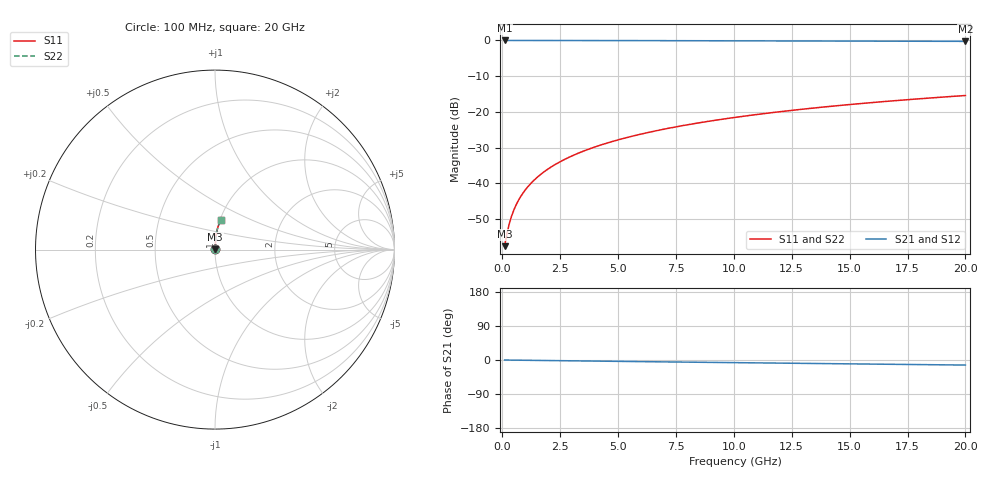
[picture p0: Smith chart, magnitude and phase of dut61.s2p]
! Touchstone file exported from HFSS 2024.1.0
!  File:  C:/UserFiles/LocalFiles/RDL_TSV_Batchsim/temp_RDL_top_61_1778681719.aedt
!  Generated:  10:17:39 PM May 13, 2026
!  Design:  RDL_top
!  Project:  temp_RDL_top_61_1778681719
!  Setup:  Setup1
!  Solution:  Sweep
! Variables:
!  dtsv = 10.80580581um
!  hbump = 3um
!  htsv = 84.22um
!  ldown = 100um
!  lrdl = 135.75um
!  p = 40
!  p1 = 51.73um
!  rhole = 1um
!  t = 450um
!  tdown = 3.915915916um
!  trdl = 3.39um
!  wdown = 15.38538539um
!  wrdl = 17.52um
# GHz S MA R 50.000000
! Terminal data exported
! Port[1] = Box2_T1
! Port[2] = Box2_T2
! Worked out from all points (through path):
!   200 points, 100 MHz to 20 GHz, reference 50 ohm
!   highest |S21| = -0.01 dB at 100 MHz (marker M1); lowest = -0.3 dB at 20 GHz (marker M2)
!   group delay of S21, straight-line fit = 1.84 ps
!   lowest |S11| = -57.6 dB at 100 MHz (marker M3), VSWR 1.00, Z = 50.1 + j0.0843 ohm
!   |S11| at or under -10 dB: start of sweep to end of sweep
!   |S22| runs from -57.6 to -15.4 dB; largest |S21 - S12| = 3e-15
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0.1  0.001321 39.6  0.999 -0.1  0.999 -0.1  0.001321 39.6
! Gamma 0 0 0 0
! Port Impedance 50 0 50 0
0.2  0.001971 58.0  0.9989 -0.2  0.9989 -0.2  0.001971 58.0
0.3  0.00271 66.6  0.9989 -0.2  0.9989 -0.2  0.00271 66.6
0.4  0.003472 71.5  0.9989 -0.3  0.9989 -0.3  0.003472 71.5
0.5  0.004242 74.6  0.9988 -0.4  0.9988 -0.4  0.004242 74.6
0.6  0.005016 76.8  0.9988 -0.4  0.9988 -0.4  0.005016 76.8
0.8  0.006572 79.7  0.9987 -0.6  0.9987 -0.6  0.006572 79.7
1.1  0.008925 82.2  0.9986 -0.8  0.9986 -0.8  0.008925 82.2
1.5  0.01209 84.1  0.9984 -1.1  0.9984 -1.1  0.01209 84.1
1.8  0.01448 85.0  0.9982 -1.3  0.9982 -1.3  0.01448 85.0
2.1  0.01687 85.7  0.998 -1.5  0.998 -1.5  0.01687 85.7
2.7  0.0217 86.5  0.9976 -2.0  0.9976 -2.0  0.0217 86.5
3.5  0.0282 87.0  0.9968 -2.6  0.9968 -2.6  0.0282 87.0
4.2  0.03395 87.3  0.9961 -3.1  0.9961 -3.1  0.03395 87.3
5  0.04058 87.3  0.9951 -3.6  0.9951 -3.6  0.04058 87.3
5.9  0.04813 87.3  0.9939 -4.2  0.9939 -4.2  0.04813 87.3
6.8  0.05576 87.0  0.9926 -4.9  0.9926 -4.9  0.05576 87.0
8.3  0.06861 86.5  0.9903 -5.9  0.9903 -5.9  0.06861 86.5
10.1  0.08418 85.6  0.9874 -7.1  0.9874 -7.1  0.08418 85.6
13.4  0.1129 83.6  0.982 -9.2  0.982 -9.2  0.1129 83.6
16.7  0.1414 81.4  0.9763 -11.3  0.9763 -11.3  0.1414 81.4
20  0.1694 79.2  0.9703 -13.3  0.9703 -13.3  0.1694 79.2
